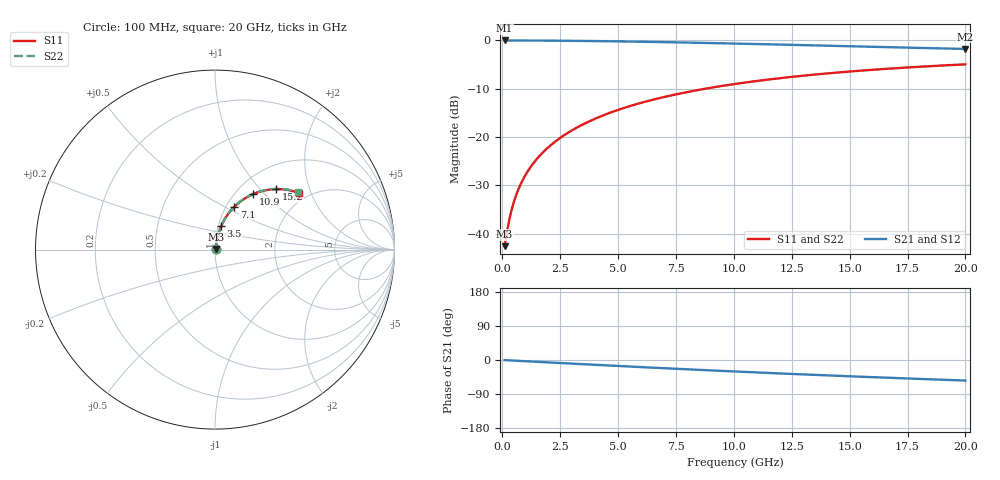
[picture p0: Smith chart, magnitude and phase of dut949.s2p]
! Touchstone file exported from HFSS 2026.1.0
!  File:  C:/ffzhzh/LocalFiles/Ansys_Project_Files/temp_train_BSMRDL_949_1783172202_51560.aedt
!  Generated:  09:37:56 PM Jul  4, 2026
!  Design:  BSMRDL
!  Project:  temp_train_BSMRDL_949_1783172202_51560
! Variables:
!  h_bsmrdl = 3.12um
!  h_ox = 20um
!  h_rdl = 5um
!  h_sub = 80um
!  h_tmrdl = 5um
!  h_tsv = 80um
!  h_via = 3um
!  l_bsmrdl = 767.32um
!  l_sub = 1167.32um
!  l_tmrdl = 200um
!  m_sub = 200um
!  pitch = 49.59um
!  r_tsv = 6um
!  s_tmrdl = 10um
!  w_bsmrdl = 14.16um
!  w_sub = 500um
!  w_tmrdl = 12um
!  x_tsv_center1 = 206um
!  x_tsv_center2 = 987.48um
!  x_tsv_center3 = 1199.48um
!  x_tsv_center4 = 1980.96um
!  x_tsv_center5 = 2192.96um
!  x_tsv_center6 = 2974.44um
# GHz S MA R 50.000000
! Terminal data exported
! Port[1] = BSM_RDL1_1_T1
! Port[2] = BSM_RDL1_1_T2
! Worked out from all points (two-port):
!   200 points, 100 MHz to 20 GHz, reference 50 ohm
!   highest |S21| = -0.05 dB at 100 MHz (marker M1); lowest = -1.8 dB at 20 GHz (marker M2)
!   |S21| within 3 dB of the highest: start of sweep to end of sweep
!   lowest |S11| = -42.6 dB at 100 MHz (marker M3), VSWR 1.01, Z = 50.6 + j0.415 ohm
!   |S11| at or under -10 dB: start of sweep to 8.799 GHz
!   |S22| runs from -42.6 to -5.0 dB; largest |S21 - S12| = 2.7e-15
!   S11 on the Smith chart (normalised r, x): 100 MHz: 1.01, +0.01; 3.5 GHz: 1.03, +0.28; 7.1 GHz: 1.09, +0.56; 10.9 GHz: 1.20, +0.87; 15.2 GHz: 1.40, +1.23; 20 GHz: 1.77, +1.64
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0.1  0.007442 33.4  0.9938 -0.3  0.9938 -0.3  0.007442 33.4
! Gamma 0 0 0 0
! Port Impedance 50 0 50 0
0.2  0.01036 52.0  0.9937 -0.7  0.9937 -0.7  0.01036 52.0
0.3  0.01386 61.5  0.9935 -1.0  0.9935 -1.0  0.01386 61.5
0.4  0.01757 66.8  0.9933 -1.3  0.9933 -1.3  0.01757 66.8
0.5  0.02135 70.1  0.9931 -1.6  0.9931 -1.6  0.02135 70.1
0.6  0.02515 72.3  0.9929 -2.0  0.9929 -2.0  0.02515 72.3
0.8  0.03278 75.0  0.9925 -2.6  0.9925 -2.6  0.03277 75.0
1.1  0.04425 77.0  0.9918 -3.5  0.9918 -3.5  0.04425 77.0
1.5  0.05959 77.9  0.9908 -4.8  0.9908 -4.8  0.05958 78.0
2.1  0.08258 77.9  0.9889 -6.7  0.9889 -6.7  0.08257 77.9
2.7  0.1054 77.0  0.9865 -8.6  0.9865 -8.6  0.1054 77.1
3.5  0.1355 75.3  0.9824 -11.1  0.9824 -11.1  0.1355 75.4
5  0.1904 71.4  0.9725 -15.7  0.9725 -15.7  0.1904 71.5
6.8  0.2526 66.5  0.9572 -21.1  0.9572 -21.1  0.2526 66.6
7.1  0.2625 65.6  0.9544 -22.0  0.9544 -22.0  0.2625 65.7
8.5  0.3071 61.8  0.9403 -26.0  0.9403 -26.0  0.3071 61.9
10.1  0.3543 57.5  0.9228 -30.5  0.9228 -30.5  0.3543 57.6
10.9  0.3765 55.4  0.9138 -32.6  0.9138 -32.6  0.3764 55.5
13.4  0.4393 49.0  0.8847 -39.1  0.8847 -39.1  0.4392 49.2
15.2  0.4787 44.7  0.8639 -43.5  0.8639 -43.5  0.4787 45.0
16.7  0.5082 41.3  0.8469 -47.0  0.8469 -47.0  0.5081 41.6
20  0.5627 34.2  0.8121 -54.2  0.8121 -54.2  0.5626 34.5
